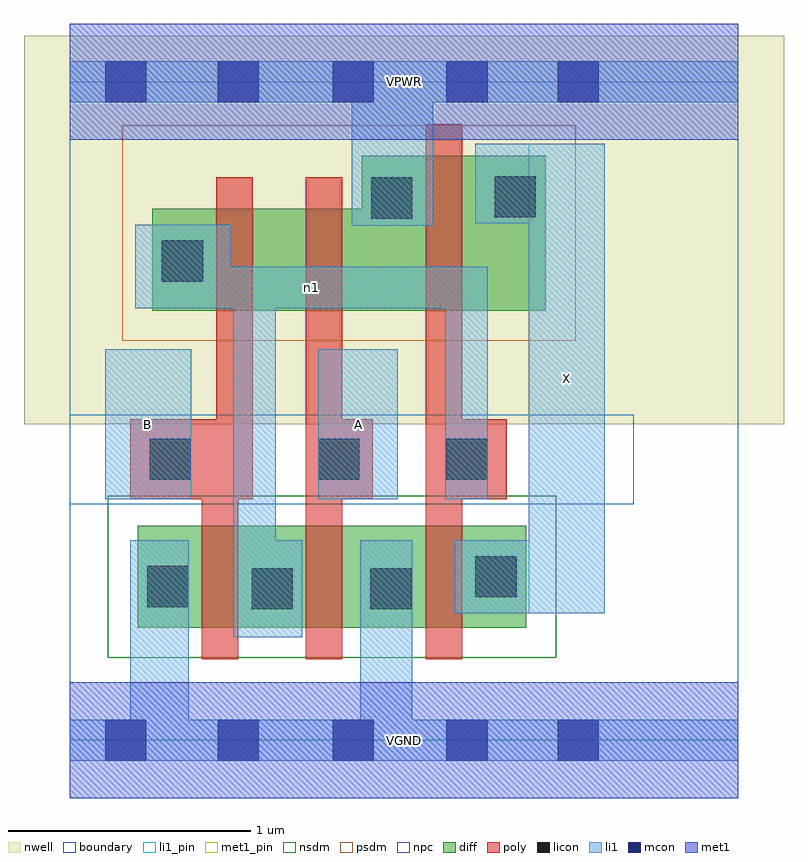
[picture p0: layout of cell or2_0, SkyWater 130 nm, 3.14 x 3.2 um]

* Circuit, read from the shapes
.subckt or2_0 A B VGND VPWR X n1
XM1 n1 B VGND VSUBS sky130_fd_pr__nfet_01v8 w=0.42 l=0.15
XM2 VGND A n1 VSUBS sky130_fd_pr__nfet_01v8 w=0.42 l=0.15
XM3 X n1 VGND VSUBS sky130_fd_pr__nfet_01v8 w=0.42 l=0.15
XM4 n2 B n1 n3 sky130_fd_pr__pfet_01v8 w=0.42 l=0.15
XM5 VPWR A n2 n3 sky130_fd_pr__pfet_01v8 w=0.42 l=0.15
XM6 X n1 VPWR n3 sky130_fd_pr__pfet_01v8 w=0.64 l=0.15
.ends

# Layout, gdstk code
import gdstk
lib = gdstk.Library(unit=1e-6, precision=1e-09)
def R(c, l, rs):  # rectangles x0, y0, x1, y1
    for r in rs: c.add(gdstk.rectangle(r[:2], r[2:], *l))
nwell = (64, 20)
diff = (65, 20)
poly = (66, 20)
licon = (66, 44)
li1_pin = (67, 16)
li1 = (67, 20)
mcon = (67, 44)
met1_pin = (68, 16)
met1 = (68, 20)
nsdm = (93, 44)
psdm = (94, 20)
npc = (95, 20)
boundary = (235, 4)

or2_0 = lib.new_cell('or2_0')
R(or2_0, nwell, [(-0.19,1.305,2.95,2.91), (0,1.305,2.76,2.91)])
R(or2_0, diff, [(0.28,0.465,1.885,0.885), (0.34,1.775,1.965,2.195), (1.205,1.775,1.965,2.415)])
R(or2_0, poly, [(0.545,0.335,0.695,1.325), (0.975,0.335,1.125,2.325), (1.47,0.335,1.62,2.545), (0.25,0.995,0.755,1.325), (0.605,0.995,0.755,2.325), (0.975,0.995,1.25,1.325), (1.47,0.995,1.805,1.325)])
R(or2_0, licon, [(0.75,0.54,0.92,0.71), (1.24,0.54,1.41,0.71), (0.32,0.55,0.49,0.72), (1.675,0.59,1.845,0.76), (0.33,1.075,0.5,1.245), (1.025,1.075,1.195,1.245), (1.555,1.075,1.725,1.245), (0.38,1.895,0.55,2.065), (1.245,2.155,1.415,2.325), (1.755,2.16,1.925,2.33)])
R(or2_0, li1_pin, [(1.895,0.525,2.21,2.465), (0.145,0.995,0.5,1.615), (1.025,0.995,1.355,1.615)])
R(or2_0, li1, [(0,-0.085,2.76,0.085), (0.25,-0.085,0.49,0.825), (1.2,-0.085,1.415,0.825), (0.675,0.425,0.85,1.955), (0.675,0.425,0.96,0.825), (1.59,0.525,2.21,0.825), (1.895,0.525,2.21,2.465), (0.145,0.995,0.5,1.615), (1.025,0.995,1.355,1.615), (1.55,0.995,1.725,1.955), (0.27,1.785,1.725,1.955), (0.27,1.785,0.665,2.13), (1.165,2.125,1.5,2.805), (1.675,2.135,2.21,2.465), (0,2.635,2.76,2.805)])
R(or2_0, mcon, [(0.145,-0.085,0.315,0.085), (0.61,-0.085,0.78,0.085), (1.085,-0.085,1.255,0.085), (1.555,-0.085,1.725,0.085), (2.015,-0.085,2.185,0.085), (0.145,2.635,0.315,2.805), (0.61,2.635,0.78,2.805), (1.085,2.635,1.255,2.805), (1.555,2.635,1.725,2.805), (2.015,2.635,2.185,2.805)])
R(or2_0, met1_pin, [(0,-0.24,2.76,0.24), (0,2.48,2.76,2.96)])
R(or2_0, met1, [(0,-0.24,2.76,0.24), (0,2.48,2.76,2.96)])
R(or2_0, nsdm, [(0.155,0.34,2.01,1.01)])
R(or2_0, psdm, [(0.215,1.65,2.09,2.54)])
R(or2_0, npc, [(0,0.975,2.33,1.345)])
R(or2_0, boundary, [(0,0,2.76,2.72)])
or2_0.add(gdstk.Label('A', (1.19,1.305), layer=67, texttype=5))
or2_0.add(gdstk.Label('B', (0.322,1.305), layer=67, texttype=5))
or2_0.add(gdstk.Label('X', (2.052,1.495), layer=67, texttype=5))
or2_0.add(gdstk.Label('n1', (0.997,1.87), layer=67, texttype=5))
or2_0.add(gdstk.Label('VPWR', (1.38,2.72), layer=68, texttype=5))
or2_0.add(gdstk.Label('VGND', (1.38,0), layer=68, texttype=5))
or2_0.add(gdstk.Label('A', (1.19,1.305), layer=67, texttype=16))
or2_0.add(gdstk.Label('B', (0.322,1.305), layer=67, texttype=16))
or2_0.add(gdstk.Label('X', (2.052,1.495), layer=67, texttype=16))
or2_0.add(gdstk.Label('VPWR', (1.38,2.72), layer=68, texttype=16))
or2_0.add(gdstk.Label('VGND', (1.38,0), layer=68, texttype=16))

lib.write_gds('or2_0.gds')
